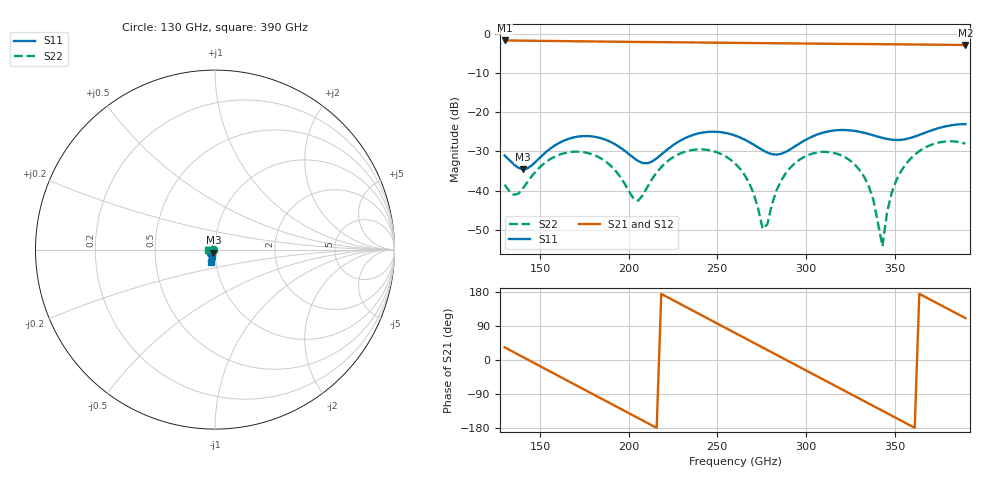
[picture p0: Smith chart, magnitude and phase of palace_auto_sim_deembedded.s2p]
! Created with skrf 1.11.0 (http://scikit-rf.org).
# GHz S DB R 50.0
!freq dBS11 angS11 dBS21 angS21 dBS12 angS12 dBS22 angS22
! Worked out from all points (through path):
!   101 points, 130 GHz to 390 GHz, reference 50 ohm
!   highest |S21| = -1.69 dB at 130 GHz (marker M1); lowest = -2.8 dB at 390 GHz (marker M2)
!   group delay of S21, straight-line fit = 6.87 ps
!   lowest |S11| = -34.6 dB at 140.4 GHz (marker M3), VSWR 1.04, Z = 49.1 - j1.6 ohm
!   |S11| at or under -10 dB: start of sweep to end of sweep
!   |S22| runs from -54.2 to -27.4 dB; largest |S21 - S12| = 9.2e-14
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130  -31.05 -143.9  -1.69 33.4  -1.69 33.4  -38.51 -163.6
135.2  -33.31 -137.0  -1.72 20.5  -1.72 20.5  -41.10 -140.4
140.4  -34.61 -118.7  -1.74 7.6  -1.74 7.6  -39.42 -112.1
156  -29.22 -92.0  -1.82 -31.1  -1.82 -31.1  -31.91 -115.4
174.2  -26.11 -114.6  -1.92 -76.2  -1.92 -76.2  -30.18 -152.3
189.8  -27.59 -135.3  -2.00 -114.8  -2.00 -114.8  -33.64 178.1
205.4  -32.48 -128.2  -2.07 -153.4  -2.07 -153.4  -42.59 -143.4
218.4  -30.82 -92.0  -2.13 174.4  -2.13 174.4  -34.00 -114.9
241.8  -25.20 -105.6  -2.23 116.5  -2.23 116.5  -29.50 -161.5
260  -25.95 -127.3  -2.31 71.5  -2.31 71.5  -33.07 157.8
270.4  -28.25 -131.6  -2.35 45.8  -2.35 45.8  -40.61 142.8
275.6  -29.68 -127.4  -2.37 32.9  -2.37 32.9  -49.78 175.1
288.6  -30.15 -98.5  -2.43 0.8  -2.43 0.8  -35.62 -110.6
304.2  -26.10 -92.0  -2.50 -37.7  -2.50 -37.7  -30.51 -145.3
317.2  -24.61 -103.0  -2.55 -69.8  -2.55 -69.8  -30.56 -178.1
330.2  -25.00 -113.4  -2.60 -101.9  -2.60 -101.9  -34.70 146.5
338  -25.89 -115.5  -2.63 -121.1  -2.63 -121.1  -42.26 118.5
343.2  -26.56 -113.8  -2.65 -134.0  -2.65 -134.0  -54.20 7.9
348.4  -27.03 -109.4  -2.67 -146.8  -2.67 -146.8  -40.60 -63.3
353.6  -27.07 -103.4  -2.69 -159.7  -2.69 -159.7  -35.11 -82.0
364  -25.80 -94.7  -2.73 174.7  -2.73 174.7  -29.93 -111.5
390  -23.05 -106.8  -2.84 110.6  -2.84 110.6  -28.03 180.0
